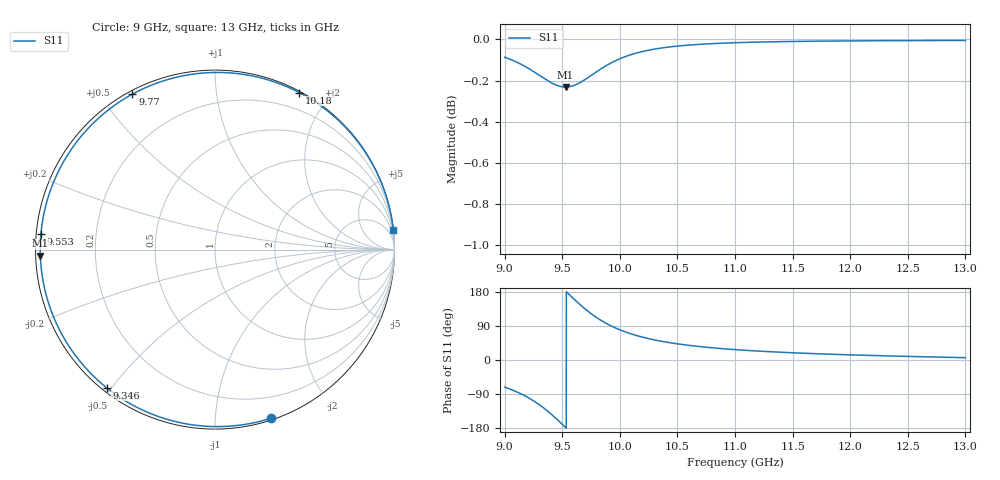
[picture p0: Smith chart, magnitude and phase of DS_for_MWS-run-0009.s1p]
! TOUCHSTONE file generated by CST DESIGN STUDIO
! Date and time: Tue Feb  4 12:25:26 2025
! Project name: C:\Work\MatlabApps\UnitCellOptimizationMatlab\CST\unitcell.cst
! Tree item: Tasks\Sweep1\SPara1\S-Parameters
! Header version: 2024
! Port assignment regex: !\s*Touchstone port\s*([0-9]+)\s*=\s*(CST MWS port|CST DES external port|CST DES block port)\s*(.+)\s* \(\"(.*)\"\)(\s*mode\s*([0-9]+))?.*
! Touchstone port assignment:
! Touchstone port 1 = CST DES external port 1 ("")
# GHz S MA R 50
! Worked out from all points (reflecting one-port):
!   4001 points, 9 GHz to 13 GHz, reference 50 ohm
!   lowest |S11| = -0.2 dB at 9.529 GHz (marker M1), VSWR 75.18, Z = 0.665 - j0.858 ohm
!   phase of S11 starts at -72 deg and turns -282 deg over the sweep
!   S11 on the Smith chart (normalised r, x): 9 GHz: 0.01, -1.39; 9.346 GHz: 0.01, -0.49; 9.553 GHz: 0.01, +0.04; 9.77 GHz: 0.01, +0.60; 10.18 GHz: 0.01, +1.67; 13 GHz: 0, +19
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9  0.9901 -71.6
9.096  0.9877 -82.8
9.203  0.9841 -99.0
9.278  0.9811 -113.1
9.346  0.9783 -128.2
9.419  0.9756 -146.7
9.461  0.9745 -158.4
9.5  0.9739 -169.6
9.529  0.9737 -178.0
9.553  0.9738 174.9
9.607  0.9747 159.3
9.668  0.9766 142.6
9.719  0.9787 129.7
9.77  0.9809 118.0
9.818  0.9829 108.1
9.871  0.9851 98.5
9.93  0.9871 89.1
10  0.9892 79.7
10.085  0.9913 70.2
10.178  0.993 61.8
10.325  0.9949 51.5
10.5  0.9963 42.6
10.721  0.9974 34.6
11  0.9982 27.4
11.5  0.9989 19.0
12  0.9992 13.5
12.5  0.9994 9.4
13  0.9994 6.1
